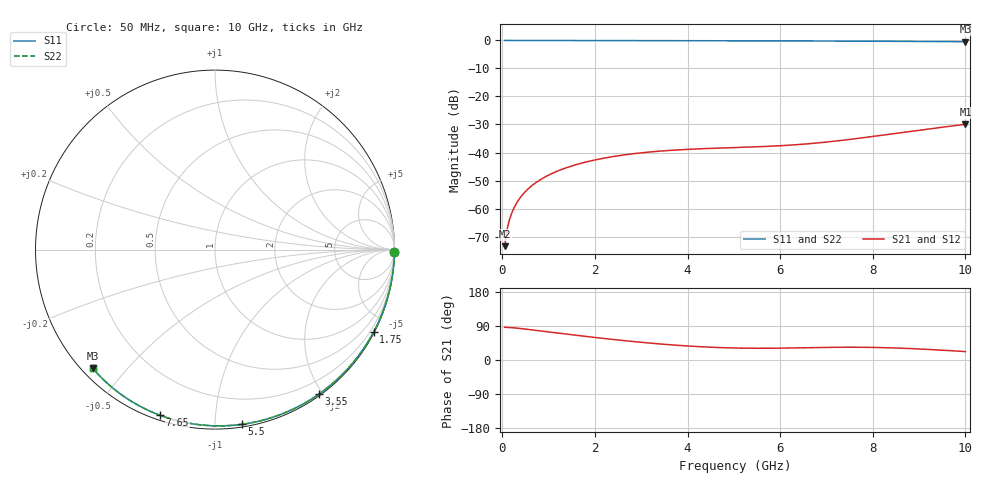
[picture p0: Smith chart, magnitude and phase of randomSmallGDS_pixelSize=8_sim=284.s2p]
! freq	dB(S11)	phase(S11)	dB(S12)	phase(S12)
!  dB(S21)	phase(S21)	dB(S22)	phase(S22)
!S-par simulation data
#  GHz  S  DB  R 50
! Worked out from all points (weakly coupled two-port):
!   200 points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, 50 MHz to 10 GHz, reference 50 ohm
!   highest |S21| = -29.93 dB at 10 GHz (marker M1); lowest = -73.4 dB at 50 MHz (marker M2)
!   lowest |S11| = -0.4 dB at 10 GHz (marker M3), VSWR 38.64, Z = 1.51 - j20.3 ohm
!   |S11| at or under -10 dB: nowhere
!   |S22| runs from -0.4 to 0.0 dB; largest |S21 - S12| = 0
!   S11 on the Smith chart (normalised r, x): 50 MHz: open; 1.75 GHz: 0.04, -4.08; 3.55 GHz: 0.02, -1.95; 5.5 GHz: 0.02, -1.16; 7.65 GHz: 0.02, -0.72; 10 GHz: 0.03, -0.41
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0.05  -0.00 -0.8  -73.43 86.4  -73.43 86.4  -0.00 -0.8
0.1  -0.00 -1.6  -67.68 86.1  -67.68 86.1  -0.00 -1.6
0.15  -0.00 -2.4  -64.25 85.9  -64.25 85.9  -0.00 -2.4
0.2  -0.00 -3.2  -61.79 85.5  -61.79 85.5  -0.00 -3.2
0.25  -0.00 -4.0  -59.88 84.9  -59.88 84.9  -0.00 -4.0
0.35  -0.00 -5.6  -56.98 83.7  -56.98 83.7  -0.00 -5.6
0.5  -0.01 -8.0  -53.92 81.5  -53.92 81.5  -0.01 -8.0
0.7  -0.01 -11.1  -51.05 78.6  -51.05 78.6  -0.01 -11.1
1  -0.02 -15.9  -48.06 74.1  -48.06 74.1  -0.02 -15.9
1.35  -0.03 -21.3  -45.63 68.8  -45.63 68.8  -0.03 -21.3
1.75  -0.04 -27.5  -43.63 63.0  -43.63 63.0  -0.04 -27.5
2.5  -0.05 -38.9  -41.17 52.8  -41.17 52.8  -0.05 -38.9
3.4  -0.07 -52.2  -39.51 42.4  -39.51 42.4  -0.07 -52.2
3.55  -0.07 -54.4  -39.32 40.9  -39.32 40.9  -0.07 -54.4
4.3  -0.09 -65.1  -38.65 34.9  -38.65 34.9  -0.09 -65.0
5.05  -0.11 -75.3  -38.22 31.6  -38.22 31.6  -0.11 -75.3
5.5  -0.13 -81.3  -37.96 31.0  -37.96 31.0  -0.13 -81.3
6.7  -0.19 -96.7  -36.75 32.7  -36.75 32.7  -0.19 -96.7
7.65  -0.24 -108.4  -35.03 33.7  -35.03 33.7  -0.24 -108.4
8.35  -0.29 -116.7  -33.50 32.2  -33.50 32.2  -0.29 -116.7
9.2  -0.37 -126.6  -31.62 27.9  -31.62 27.9  -0.37 -126.6
10  -0.45 -135.8  -29.93 22.2  -29.93 22.2  -0.45 -135.8
